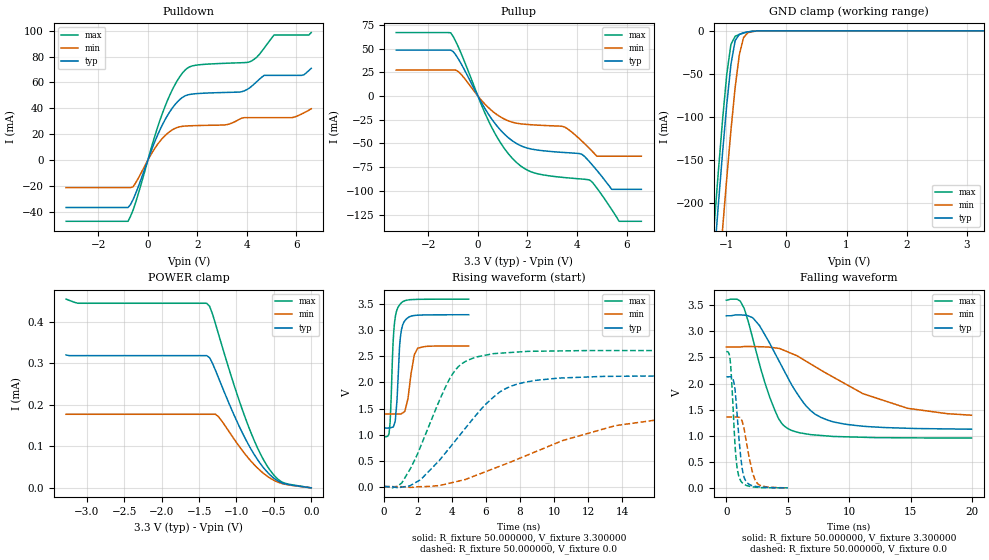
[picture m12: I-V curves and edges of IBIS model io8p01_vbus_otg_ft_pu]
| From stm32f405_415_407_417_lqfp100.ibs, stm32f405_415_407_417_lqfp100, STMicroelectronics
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|   Model io8p01_vbus_otg_ft_pu
[Model]  io8p01_vbus_otg_ft_pu
Model_type I/O
Polarity   Non-Inverting
Enable   Active-Low
Vinl =   0.990000V
Vinh =   2.310000V
Vmeas =  1.650000V
Cref =   50.000000pF
Rref =   100.000000M
Vref =   0.0V
C_comp   3.304800pF   3.199300pF   3.429300pF
[Temperature Range]   25.000000   0.125000k   -40.000000
[Pullup Reference]   3.300000V   2.700000V   3.600000V
[Pulldown Reference]   0.0V   0.0V   0.0V
[POWER Clamp Reference]   3.300000V   2.700000V   3.600000V
[GND Clamp Reference]   0.0V   0.0V   0.0V
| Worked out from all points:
|   slope of the pulldown table from 0 to 0.495 V, typ, clamps not added: 20.9 ohm
|   slope of the pullup table from 0 to 0.495 V, typ, clamps not added: 22.6 ohm
|   GND clamp passes 1 mA (typ) near -0.61 V on its own axis
|   rising waveform, R_fixture 50.000000, V_fixture 3.300000: 20-80 % time 224ps typ, 350ps min, 206ps max; typ from 1.12 V to 3.3 V
|   rising waveform, R_fixture 50.000000, V_fixture 0.0: 20-80 % time 3.36ns typ, 6.84ns min, 2.08ns max; typ from 0.001 V to 2.13 V
|   falling waveform, R_fixture 50.000000, V_fixture 3.300000: 20-80 % time 3.23ns typ, 6.66ns min, 2.03ns max; typ from 3.3 V to 1.12 V
|   falling waveform, R_fixture 50.000000, V_fixture 0.0: 20-80 % time 481ps typ, 679ps min, 387ps max; typ from 2.13 V to 0.001 V
[Pulldown]
|Voltage   I(typ)   I(min)   I(max)
-3.3V     -36.41mA   -21.08mA   -47.04mA
-800mV    -36.41mA   -21.08mA   -47.04mA
-600mV    -30.48mA   -20.53mA   -38.65mA
700mV     31.4mA     19.11mA    41.71mA
1.2V      45.15mA    25.37mA    61.75mA
1.6V      50.35mA    26.5mA     71.06mA
3.1V      52.28mA    27.26mA    74.76mA
4.1V      55.64mA    32.87mA    75.8mA
4.7V      65.47mA    32.87mA    86.49mA
5.1V      65.47mA    32.87mA    96.56mA
6.2V      65.47mA    35.57mA    96.56mA
6.6V      70.92mA    39.71mA    98.46mA
[Pullup]
|Voltage   I(typ)   I(min)   I(max)
-3.3V     48.4mA     27.38mA    66.91mA
-1.1V     48.4mA     27.38mA    66.69mA
-700mV    35.09mA    23.45mA    46.29mA
500mV     -22.06mA   -14mA      -30.03mA
1.5V      -49.1mA    -28.3mA    -68.56mA
2.2V      -56.04mA   -30.32mA   -80.35mA
3.5V      -59.52mA   -32.65mA   -85.91mA
4.5V      -69.06mA   -55.12mA   -88.39mA
4.8V      -78.22mA   -63.4mA    -96.84mA
5.4V      -98.3mA    -63.4mA    -119.6mA
5.7V      -98.3mA    -63.4mA    -132mA
6.6V      -98.3mA    -63.4mA    -132mA
[GND_clamp]
|Voltage   I(typ)   I(min)   I(max)
-3.3V     -2.321A    -2.399A    -2.294A
-1.2V     -265.6mA   -356.2mA   -227.3mA
-1.13V    -202.8mA   -293mA     -164.3mA
-1.06V    -142.3mA   -231.2mA   -104.3mA
-990mV    -86.15mA   -171.7mA   -51mA
-920mV    -39.05mA   -115.6mA   -15.71mA
-850mV    -11.4mA    -65.74mA   -6.366mA
-780mV    -4.046mA   -27.6mA    -4.153mA
-710mV    -2.285mA   -7.882mA   -2.591mA
-640mV    -1.291mA   -2.274mA   -1.367mA
-570mV    -618uA     -909.9uA   -567.3uA
3.28V     0A         0A         0A
[POWER_clamp]
|Voltage   I(typ)   I(min)   I(max)
-3.28V    319.9uA    177.1uA    454.3uA
-3.12V    318.3uA    177.1uA    444.3uA
-1.4V     318.3uA    177.1uA    444.3uA
-1.36V    313.4uA    177.1uA    437.2uA
-1.28V    282.3uA    177.1uA    394.1uA
-1.24V    264.6uA    170.9uA    369.7uA
-920mV    131.9uA    89.38uA    187.2uA
-760mV    79.47uA    55.16uA    112.7uA
-640mV    48.78uA    35.06uA    68.06uA
-520mV    26.21uA    20.13uA    35uA
-400mV    12.52uA    10.84uA    14.88uA
0V        0A         0A         0A
[Ramp]
| variable   typ   min   max
dV/dt_r  1.27735/3.35408n   0.79905/6.86364n   1.56700/2.07505n
dV/dt_f  1.30152/3.22709n   0.73896/6.63899n   1.58712/2.03241n
R_load = 50.000000
[Rising Waveform]
R_fixture= 50.000000
V_fixture= 3.300000
V_fixture_min= 2.700000
V_fixture_max= 3.600000
|time   V(typ)   V(min)   V(max)
0s        1.125V     1.393V     955.6mV
300.3ps   1.127V     1.393V     1.027V
370.4ps   1.129V     1.393V     1.286V
580.6ps   1.173V     1.393V     2.994V
670.7ps   1.281V     1.393V     3.265V
850.9ps   2.216V     1.394V     3.455V
930.9ps   2.74V      1.395V     3.493V
1.101ns   3.103V     1.416V     3.548V
1.982ns   3.29V      2.657V     3.595V
4.985ns   3.3V       2.7V       3.599V
[Rising Waveform]
R_fixture= 50.000000
V_fixture= 0.0
V_fixture_min= 0.0
V_fixture_max= 0.0
|time   V(typ)   V(min)   V(max)
0s        1.446mV    1.246mV    1.808mV
1.081ns   -5.986mV   -865.8uV   88.76mV
2.162ns   135.8mV    248.7uV    776.8mV
3.804ns   723.2mV    62.24mV    2.033V
4.284ns   917.3mV    99mV       2.271V
4.885ns   1.161V     150.5mV    2.421V
6.807ns   1.816V     392.3mV    2.561V
8.288ns   2.004V     586.1mV    2.593V
13.61ns   2.118V     1.172V     2.612V
19.94ns   2.129V     1.36V      2.612V
[Falling Waveform]
R_fixture= 50.000000
V_fixture= 3.300000
V_fixture_min= 2.700000
V_fixture_max= 3.600000
|time   V(typ)   V(min)   V(max)
0s        3.3V       2.7V       3.599V
1.441ns   3.312V     2.71V      3.444V
2.162ns   3.259V     2.71V      2.851V
3.524ns   2.773V     2.697V     1.742V
4.324ns   2.415V     2.672V     1.301V
5.045ns   2.094V     2.602V     1.132V
6.807ns   1.494V     2.383V     1.024V
8.649ns   1.27V      2.13V      987.5mV
14.73ns   1.143V     1.527V     960.1mV
19.94ns   1.125V     1.393V     955.6mV
[Falling Waveform]
R_fixture= 50.000000
V_fixture= 0.0
V_fixture_min= 0.0
V_fixture_max= 0.0
|time   V(typ)   V(min)   V(max)
0s        2.129V     1.36V      2.612V
300.3ps   2.13V      1.359V     2.477V
620.6ps   2.02V      1.359V     1.199V
810.8ps   1.615V     1.361V     518.7mV
1.111ns   736.1mV    1.345V     164.5mV
1.301ns   356.4mV    1.267V     96.59mV
1.522ns   160.8mV    1.031V     60.57mV
2.142ns   41.55mV    284.9mV    18.51mV
2.452ns   26.28mV    108.8mV    12.68mV
4.985ns   1.446mV    1.246mV    1.808mV
